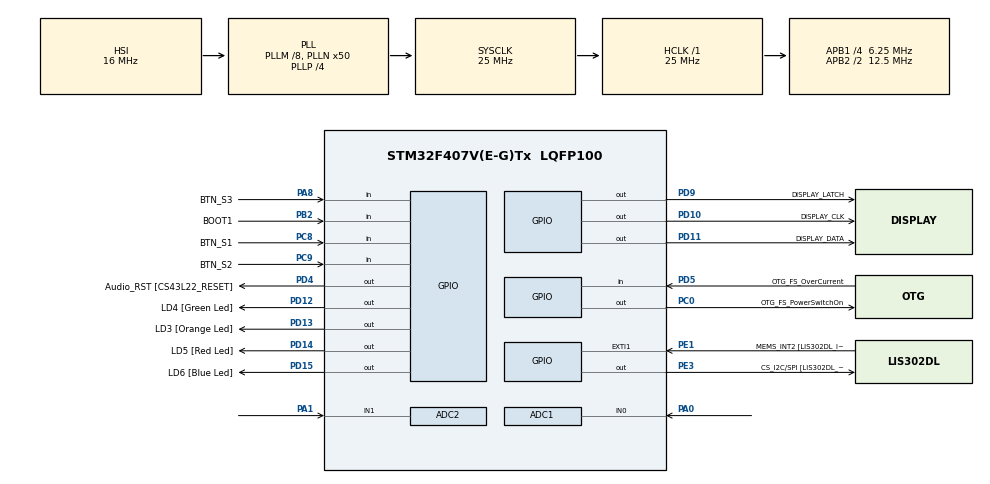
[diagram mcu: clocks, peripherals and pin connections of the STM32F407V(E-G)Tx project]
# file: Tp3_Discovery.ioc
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ADC1.Channel-0\#ChannelRegularConversion=ADC_CHANNEL_0
ADC1.NbrOfConversionFlag=1
ADC1.Rank-0\#ChannelRegularConversion=1
ADC1.SamplingTime-0\#ChannelRegularConversion=ADC_SAMPLETIME_3CYCLES
ADC1.master=1
ADC2.Channel-1\#ChannelRegularConversion=ADC_CHANNEL_1
ADC2.NbrOfConversionFlag=1
ADC2.Rank-1\#ChannelRegularConversion=1
ADC2.SamplingTime-1\#ChannelRegularConversion=ADC_SAMPLETIME_3CYCLES
Mcu.Family=STM32F4
Mcu.Name=STM32F407V(E-G)Tx
Mcu.Package=LQFP100
NVIC.ADC_IRQn=true\:0\:0\:false\:false\:true\:true\:true\:true
NVIC.PriorityGroup=NVIC_PRIORITYGROUP_0
NVIC.TIM2_IRQn=true\:0\:0\:false\:false\:true\:true\:true\:true
PA0-WKUP.Signal=ADCx_IN0
PA1.Signal=ADCx_IN1
PA10.GPIO_Label=OTG_FS_ID
PA10.GPIO_Mode=GPIO_MODE_AF_PP
PA10.GPIO_PuPd=GPIO_NOPULL
PA10.GPIO_Speed=GPIO_SPEED_FREQ_LOW
PA10.Signal=USB_OTG_FS_ID
PA11.GPIO_Label=OTG_FS_DM
PA11.GPIO_Mode=GPIO_MODE_AF_PP
PA11.GPIO_PuPd=GPIO_NOPULL
PA11.GPIO_Speed=GPIO_SPEED_FREQ_LOW
PA11.Signal=USB_OTG_FS_DM
PA12.GPIO_Label=OTG_FS_DP
PA12.GPIO_Mode=GPIO_MODE_AF_PP
PA12.GPIO_PuPd=GPIO_NOPULL
PA12.GPIO_Speed=GPIO_SPEED_FREQ_LOW
PA12.Signal=USB_OTG_FS_DP
PA13.GPIO_Label=SWDIO
PA13.Mode=Serial_Wire
PA13.Signal=SYS_JTMS-SWDIO
PA14.GPIO_Label=SWCLK
PA14.Mode=Serial_Wire
PA14.Signal=SYS_JTCK-SWCLK
PA4.GPIO_Label=I2S3_WS [CS43L22_LRCK]
PA4.GPIO_Mode=GPIO_MODE_AF_PP
PA4.GPIO_PuPd=GPIO_NOPULL
PA4.GPIO_Speed=GPIO_SPEED_FREQ_LOW
PA4.Signal=I2S3_WS
PA5.GPIO_Label=SPI1_SCK [LIS302DL_SCL/SPC]
PA5.GPIO_Mode=GPIO_MODE_AF_PP
PA5.GPIO_PuPd=GPIO_NOPULL
PA5.GPIO_Speed=GPIO_SPEED_FREQ_LOW
PA5.Signal=SPI1_SCK
PA6.GPIO_Label=SPI1_MISO [LIS302DL_SDO]
PA6.GPIO_Mode=GPIO_MODE_AF_PP
PA6.GPIO_PuPd=GPIO_NOPULL
PA6.GPIO_Speed=GPIO_SPEED_FREQ_LOW
PA6.Signal=SPI1_MISO
PA7.GPIO_Label=SPI1_MOSI [LIS302DL_SDA/SDI/SDO]
PA7.GPIO_Mode=GPIO_MODE_AF_PP
PA7.GPIO_PuPd=GPIO_NOPULL
PA7.GPIO_Speed=GPIO_SPEED_FREQ_LOW
PA7.Signal=SPI1_MOSI
PA8.GPIO_Label=BTN_S3
PA8.GPIO_PuPd=GPIO_PULLUP
PA8.Signal=GPIO_Input
PA9.GPIO_Label=VBUS_FS
PA9.GPIO_Mode=GPIO_MODE_INPUT
PA9.GPIO_PuPd=GPIO_NOPULL
PA9.Signal=USB_OTG_FS_VBUS
PB10.GPIO_Label=CLK_IN [MP45DT02_CLK]
PB10.GPIO_Mode=GPIO_MODE_AF_PP
PB10.GPIO_PuPd=GPIO_NOPULL
PB10.GPIO_Speed=GPIO_SPEED_FREQ_LOW
PB10.Signal=I2S2_CK
PB2.GPIO_Label=BOOT1
PB2.GPIO_Mode=GPIO_MODE_INPUT
PB2.GPIO_PuPd=GPIO_NOPULL
PB2.Signal=GPIO_Input
PB3.GPIO_Label=SWO
PB3.Signal=SYS_JTDO-SWO
PB6.GPIO_Label=Audio_SCL [CS43L22_SCL]
PB6.GPIO_Mode=GPIO_MODE_AF_OD
PB6.GPIO_PuPd=GPIO_NOPULL
PB6.GPIO_Speed=GPIO_SPEED_FREQ_LOW
PB6.Signal=I2C1_SCL
PB9.GPIO_Label=Audio_SDA [CS43L22_SDA]
PB9.GPIO_Mode=GPIO_MODE_AF_OD
PB9.GPIO_PuPd=GPIO_NOPULL
PB9.GPIO_Speed=GPIO_SPEED_FREQ_LOW
PB9.Signal=I2C1_SDA
PC0.GPIO_Label=OTG_FS_PowerSwitchOn
PC0.GPIO_PuPd=GPIO_NOPULL
PC0.GPIO_Speed=GPIO_SPEED_FREQ_LOW
PC0.PinState=GPIO_PIN_SET
PC0.Signal=GPIO_Output
PC10.GPIO_Label=I2S3_SCK [CS43L22_SCLK]
PC10.GPIO_Mode=GPIO_MODE_AF_PP
PC10.GPIO_PuPd=GPIO_NOPULL
PC10.GPIO_Speed=GPIO_SPEED_FREQ_LOW
PC10.Signal=I2S3_CK
PC12.GPIO_Label=I2S3_SD [CS43L22_SDIN]
PC12.GPIO_Mode=GPIO_MODE_AF_PP
PC12.GPIO_PuPd=GPIO_NOPULL
PC12.GPIO_Speed=GPIO_SPEED_FREQ_LOW
PC12.Signal=I2S3_SD
PC14-OSC32_IN.GPIO_Label=PC14-OSC32_IN
PC14-OSC32_IN.Signal=RCC_OSC32_IN
PC15-OSC32_OUT.GPIO_Label=PC15-OSC32_OUT
PC15-OSC32_OUT.Signal=RCC_OSC32_OUT
PC3.GPIO_Label=PDM_OUT [MP45DT02_DOUT]
PC3.GPIO_Mode=GPIO_MODE_AF_PP
PC3.GPIO_PuPd=GPIO_NOPULL
PC3.GPIO_Speed=GPIO_SPEED_FREQ_LOW
PC3.Signal=I2S2_SD
PC7.GPIO_Label=I2S3_MCK [CS43L22_MCLK]
PC7.GPIO_Mode=GPIO_MODE_AF_PP
PC7.GPIO_PuPd=GPIO_NOPULL
PC7.GPIO_Speed=GPIO_SPEED_FREQ_LOW
PC7.Signal=I2S3_MCK
PC8.GPIO_Label=BTN_S1
PC8.GPIO_PuPd=GPIO_PULLUP
PC8.Signal=GPIO_Input
PC9.GPIO_Label=BTN_S2
PC9.GPIO_PuPd=GPIO_PULLUP
PC9.Signal=GPIO_Input
PD10.GPIO_Label=DISPLAY_CLK
PD10.Signal=GPIO_Output
PD11.GPIO_Label=DISPLAY_DATA
PD11.Signal=GPIO_Output
PD12.GPIO_Label=LD4 [Green Led]
PD12.GPIO_PuPd=GPIO_NOPULL
PD12.GPIO_Speed=GPIO_SPEED_FREQ_LOW
PD12.Signal=GPIO_Output
PD13.GPIO_Label=LD3 [Orange Led]
PD13.GPIO_PuPd=GPIO_NOPULL
PD13.GPIO_Speed=GPIO_SPEED_FREQ_LOW
PD13.Signal=GPIO_Output
PD14.GPIO_Label=LD5 [Red Led]
PD14.GPIO_PuPd=GPIO_NOPULL
PD14.GPIO_Speed=GPIO_SPEED_FREQ_LOW
PD14.Signal=GPIO_Output
PD15.GPIO_Label=LD6 [Blue Led]
PD15.GPIO_PuPd=GPIO_NOPULL
PD15.GPIO_Speed=GPIO_SPEED_FREQ_LOW
PD15.Signal=GPIO_Output
PD4.GPIO_Label=Audio_RST [CS43L22_RESET]
PD4.GPIO_PuPd=GPIO_NOPULL
PD4.GPIO_Speed=GPIO_SPEED_FREQ_LOW
PD4.Signal=GPIO_Output
PD5.GPIO_Label=OTG_FS_OverCurrent
PD5.GPIO_Mode=GPIO_MODE_INPUT
PD5.GPIO_PuPd=GPIO_NOPULL
PD5.Signal=GPIO_Input
PD9.GPIO_Label=DISPLAY_LATCH
PD9.Signal=GPIO_Output
PE1.GPIO_Label=MEMS_INT2 [LIS302DL_INT2]
PE1.GPIO_ModeDefaultEXTI=GPIO_MODE_EVT_RISING
PE1.GPIO_PuPd=GPIO_NOPULL
PE1.Signal=GPXTI1
PE3.GPIO_Label=CS_I2C/SPI [LIS302DL_CS_I2C/SPI]
PE3.GPIO_PuPd=GPIO_NOPULL
PE3.GPIO_Speed=GPIO_SPEED_FREQ_LOW
PE3.Signal=GPIO_Output
PH0-OSC_IN.GPIO_Label=PH0-OSC_IN
PH0-OSC_IN.Signal=RCC_OSC_IN
PH1-OSC_OUT.GPIO_Label=PH1-OSC_OUT
PH1-OSC_OUT.Signal=RCC_OSC_OUT
ProjectManager.HeapSize=0x200
ProjectManager.StackSize=0x400
ProjectManager.TargetToolchain=STM32CubeIDE
RCC.48MHZClocksFreq_Value=14285714.285714285
RCC.AHBFreq_Value=25000000
RCC.APB1CLKDivider=RCC_HCLK_DIV4
RCC.APB1Freq_Value=6250000
RCC.APB1TimFreq_Value=12500000
RCC.APB2CLKDivider=RCC_HCLK_DIV2
RCC.APB2Freq_Value=12500000
RCC.APB2TimFreq_Value=25000000
RCC.CortexFreq_Value=25000000
RCC.HCLKFreq_Value=25000000
RCC.HSE_VALUE=8000000
RCC.HSI_VALUE=16000000
RCC.LSE_VALUE=32768
RCC.PLLM=8
RCC.PLLN=50
RCC.PLLP=RCC_PLLP_DIV4
RCC.PLLQ=7
RCC.SYSCLKFreq_VALUE=25000000
RCC.SYSCLKSource=RCC_SYSCLKSOURCE_PLLCLK
RCC.VCOOutputFreq_Value=100000000
SH.ADCx_IN0.0=ADC1_IN0,IN0
SH.ADCx_IN1.0=ADC2_IN1,IN1
TIM2.Period=999
TIM2.Prescaler=1249
VP_TIM2_VS_ClockSourceINT.Mode=Internal
board=STM32F407G-DISC1

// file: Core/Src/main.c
/* USER CODE BEGIN Header */
/**
  ******************************************************************************
  * @file           : main.c
  * @brief          : Main program body
  ******************************************************************************
  * @attention
  *
  * Copyright (c) 2026 STMicroelectronics.
  * All rights reserved.
  *
  * This software is licensed under terms that can be found in the LICENSE file
  * in the root directory of this software component.
  * If no LICENSE file comes with this software, it is provided AS-IS.
  *
  ******************************************************************************
  */
/* USER CODE END Header */
#include "main.h"
#include "adc.h"
#include "tim.h"
#include "gpio.h"

/* USER CODE BEGIN Includes */
#include "boton.h"
#include "display7seg.h"
/* USER CODE END Includes */

/* USER CODE BEGIN PTD */
typedef enum {
	MODO_POTENCIOMETRO = 0,
	MODO_TEMPERATURA = 1
} ModoLectura_t;
/* USER CODE END PTD */

/* USER CODE BEGIN PD */
#define MUESTRAS_FILTRO	16
/* USER CODE END PD */

/* USER CODE BEGIN PV */
volatile ModoLectura_t modo_actual = MODO_POTENCIOMETRO;
volatile uint8_t filtro_activo = 0; // 0 = Medicion directa, 1 = Promedio (16 muestras)

// Variables para ADC1 (Potenciometro)
volatile uint8_t adc1_ready = 0;
uint32_t adc1_value = 0;
uint32_t adc1_acumulador = 0;
uint8_t adc1_muestras = 0;

// Variables para ADC2 (Sensor de temperatura)
volatile uint8_t adc2_ready = 0;
uint32_t adc2_value = 0;
uint32_t adc2_acumulador = 0;
uint8_t adc2_muestras = 0;

// Variables procesadas
float voltage_pot = 0.0f;
float voltage_temp = 0.0f;
float temperature_c = 0.0f;
/* USER CODE END PV */

void SystemClock_Config(void);
/* USER CODE BEGIN PFP */
void Accion_Boton_S1(void);
void Accion_Boton_S2(void);
void Accion_Boton_S3(void);
/* USER CODE END PFP */

int main(void)
{

  /* MCU Configuration--------------------------------------------------------*/

  /* Reset of all peripherals, Initializes the Flash interface and the Systick. */
  HAL_Init();

  /* Configure the system clock */
  SystemClock_Config();

  /* Initialize all configured peripherals */
  MX_GPIO_Init();
  MX_ADC1_Init();
  MX_TIM2_Init();
  MX_ADC2_Init();
  /* USER CODE BEGIN 2 */
  Button_Init();
  Button_SetAction_S1(Accion_Boton_S1);
  Button_SetAction_S2(Accion_Boton_S2);
  Button_SetAction_S3(Accion_Boton_S3);

  HAL_TIM_Base_Start_IT(&htim2);
  /* USER CODE END 2 */

  /* Infinite loop */
  /* USER CODE BEGIN WHILE */
  while (1)
  {
	  Read_Button_Task();
    /* USER CODE END WHILE */

    /* USER CODE BEGIN 3 */
	  if (adc1_ready) {
		  adc1_ready = 0;

		  if (filtro_activo) {
			  adc1_acumulador += adc1_value;
			  adc1_muestras++;

			  if (adc1_muestras >= MUESTRAS_FILTRO) {
				  uint32_t prom = adc1_acumulador / MUESTRAS_FILTRO;
				  adc1_acumulador = 0;
				  adc1_muestras = 0;

				  voltage_pot = ((float)prom * 3.3f) / 4095.0f;

				  Display_SetNumberWithDP((uint16_t)(voltage_pot * 1000.0f), 3);
			  }
		  } else {
			  voltage_pot = ((float)adc1_value * 3.3f) / 4095.0f;
			  Display_SetNumberWithDP((uint16_t)(voltage_pot * 1000.0f), 3);
		  }
	  }

	  if (adc2_ready) {
		  adc2_ready = 0;

		  if (filtro_activo) {
			  adc2_acumulador += adc2_value;
			  adc2_muestras++;

			  if (adc2_muestras >= MUESTRAS_FILTRO) {
				  uint32_t prom = adc2_acumulador / MUESTRAS_FILTRO;
				  adc2_acumulador = 0;
				  adc2_muestras = 0;

				  voltage_temp = ((float)prom * 3.3f) / 4095.0f;
				  temperature_c = (voltage_temp - 0.5f) * 100.0f;

				  Display_SetNumberWithDP((uint16_t)(temperature_c * 10.0f), 1);
			}
		} else {
			voltage_temp = ((float)adc2_value * 3.3f) / 4095.0f;
			temperature_c = (voltage_temp - 0.5f) * 100.0f;

			Display_SetNumberWithDP((uint16_t)(temperature_c * 10.0f), 1);
		}
	}

	  Display_Refresh_Task();
  }
  /* USER CODE END 3 */
}

void SystemClock_Config(void)
{
  RCC_OscInitTypeDef RCC_OscInitStruct = {0};
  RCC_ClkInitTypeDef RCC_ClkInitStruct = {0};

  /** Configure the main internal regulator output voltage
  */
  __HAL_RCC_PWR_CLK_ENABLE();
  __HAL_PWR_VOLTAGESCALING_CONFIG(PWR_REGULATOR_VOLTAGE_SCALE1);

  /** Initializes the RCC Oscillators according to the specified parameters
  * in the RCC_OscInitTypeDef structure.
  */
  RCC_OscInitStruct.OscillatorType = RCC_OSCILLATORTYPE_HSI;
  RCC_OscInitStruct.HSIState = RCC_HSI_ON;
  RCC_OscInitStruct.HSICalibrationValue = RCC_HSICALIBRATION_DEFAULT;
  RCC_OscInitStruct.PLL.PLLState = RCC_PLL_ON;
  RCC_OscInitStruct.PLL.PLLSource = RCC_PLLSOURCE_HSI;
  RCC_OscInitStruct.PLL.PLLM = 8;
  RCC_OscInitStruct.PLL.PLLN = 50;
  RCC_OscInitStruct.PLL.PLLP = RCC_PLLP_DIV4;
  RCC_OscInitStruct.PLL.PLLQ = 7;
  if (HAL_RCC_OscConfig(&RCC_OscInitStruct) != HAL_OK)
  {
    Error_Handler();
  }

  /** Initializes the CPU, AHB and APB buses clocks
  */
  RCC_ClkInitStruct.ClockType = RCC_CLOCKTYPE_HCLK|RCC_CLOCKTYPE_SYSCLK
                              |RCC_CLOCKTYPE_PCLK1|RCC_CLOCKTYPE_PCLK2;
  RCC_ClkInitStruct.SYSCLKSource = RCC_SYSCLKSOURCE_PLLCLK;
  RCC_ClkInitStruct.AHBCLKDivider = RCC_SYSCLK_DIV1;
  RCC_ClkInitStruct.APB1CLKDivider = RCC_HCLK_DIV4;
  RCC_ClkInitStruct.APB2CLKDivider = RCC_HCLK_DIV2;

  if (HAL_RCC_ClockConfig(&RCC_ClkInitStruct, FLASH_LATENCY_0) != HAL_OK)
  {
    Error_Handler();
  }
}

/* USER CODE BEGIN 4 */
// Esta interrupcion ocurre cada 100 ms
void HAL_TIM_PeriodElapsedCallback(TIM_HandleTypeDef *htim){
	if (htim->Instance == TIM2) {
		if (modo_actual == MODO_POTENCIOMETRO) {
			HAL_ADC_Start_IT(&hadc1); // Potenciometro (PA0)
		} else {
			HAL_ADC_Start_IT(&hadc2); // Sensor de Temperatura (PA1)
		}
	}
}

void HAL_ADC_ConvCpltCallback(ADC_HandleTypeDef *hadc){
	if (hadc->Instance == ADC1) {
		adc1_value = HAL_ADC_GetValue(hadc);
		adc1_ready = 1;
	} else if (hadc->Instance == ADC2) {
		adc2_value = HAL_ADC_GetValue(hadc);
		adc2_ready = 1;
	}
}

void Accion_Boton_S1(void){ modo_actual = MODO_POTENCIOMETRO; }
void Accion_Boton_S2(void){ modo_actual = MODO_TEMPERATURA; }
void Accion_Boton_S3(void){ filtro_activo = !filtro_activo; }
/* USER CODE END 4 */

void Error_Handler(void)
{
  __disable_irq();
  while (1)
  {
  }
}
